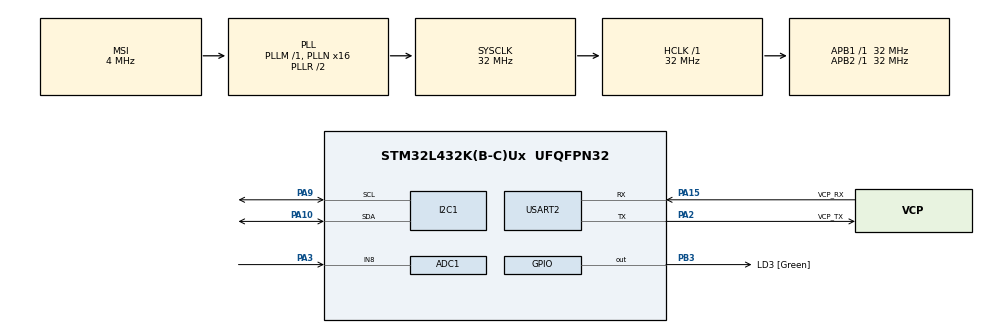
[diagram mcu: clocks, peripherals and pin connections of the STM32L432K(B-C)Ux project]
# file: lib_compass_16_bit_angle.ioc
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ADC1.Channel-0\#ChannelRegularConversion=ADC_CHANNEL_8
ADC1.NbrOfConversionFlag=1
ADC1.OffsetNumber-0\#ChannelRegularConversion=ADC_OFFSET_NONE
ADC1.Rank-0\#ChannelRegularConversion=1
ADC1.SamplingTime-0\#ChannelRegularConversion=ADC_SAMPLETIME_2CYCLES_5
ADC1.master=1
I2C1.Timing=0x00707CBB
Mcu.Family=STM32L4
Mcu.Name=STM32L432K(B-C)Ux
Mcu.Package=UFQFPN32
NVIC.PriorityGroup=NVIC_PRIORITYGROUP_4
PA0.GPIO_Label=MCO [High speed clock in]
PA0.Mode=HSE-External-Clock-Source-for-LittleOrca
PA0.Signal=RCC_CK_IN
PA10.Mode=I2C
PA10.Signal=I2C1_SDA
PA13\ (JTMS-SWDIO).GPIO_Label=SWDIO
PA13\ (JTMS-SWDIO).Mode=Serial_Wire
PA13\ (JTMS-SWDIO).Signal=SYS_JTMS-SWDIO
PA14\ (JTCK-SWCLK).GPIO_Label=SWCLK
PA14\ (JTCK-SWCLK).Mode=Serial_Wire
PA14\ (JTCK-SWCLK).Signal=SYS_JTCK-SWCLK
PA15\ (JTDI).GPIO_Label=VCP_RX
PA15\ (JTDI).Mode=Asynchronous
PA15\ (JTDI).Signal=USART2_RX
PA2.GPIO_Label=VCP_TX
PA2.Mode=Asynchronous
PA2.Signal=USART2_TX
PA3.Signal=ADCx_IN8
PA9.Mode=I2C
PA9.Signal=I2C1_SCL
PB3\ (JTDO-TRACESWO).GPIO_Label=LD3 [Green]
PB3\ (JTDO-TRACESWO).Signal=GPIO_Output
PC14-OSC32_IN\ (PC14).Mode=LSE-External-Oscillator
PC14-OSC32_IN\ (PC14).Signal=RCC_OSC32_IN
PC15-OSC32_OUT\ (PC15).Mode=LSE-External-Oscillator
PC15-OSC32_OUT\ (PC15).Signal=RCC_OSC32_OUT
ProjectManager.HeapSize=0x200
ProjectManager.StackSize=0x400
ProjectManager.TargetToolchain=STM32CubeIDE
RCC.ADCFreq_Value=32000000
RCC.AHBFreq_Value=32000000
RCC.APB1Freq_Value=32000000
RCC.APB1TimFreq_Value=32000000
RCC.APB2Freq_Value=32000000
RCC.APB2TimFreq_Value=32000000
RCC.CortexFreq_Value=32000000
RCC.HCLKFreq_Value=32000000
RCC.HSE_VALUE=8000000
RCC.HSI16_VALUE=16000000
RCC.HSI48_VALUE=48000000
RCC.HSI_VALUE=16000000
RCC.MSI_VALUE=4000000
RCC.PLLMUL=RCC_PLLMUL_4
RCC.PLLN=16
RCC.PLLSAI1N=16
RCC.SYSCLKFreq_VALUE=32000000
RCC.SYSCLKSource=RCC_SYSCLKSOURCE_PLLCLK
RCC.USBFreq_Value=32000000
RCC.VCOOutputFreq_Value=64000000
SH.ADCx_IN8.0=ADC1_IN8,IN8-Single-Ended
USART2.VirtualMode-Asynchronous=VM_ASYNC
board=NUCLEO-L432KC

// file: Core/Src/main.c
/* USER CODE BEGIN Header */
/**
 ******************************************************************************
 * @file           : main.c
 * @brief          : Main program body
 ******************************************************************************
 * @attention
 *
 * Copyright (c) 2023 STMicroelectronics.
 * All rights reserved.
 *
 * This software is licensed under terms that can be found in the LICENSE file
 * in the root directory of this software component.
 * If no LICENSE file comes with this software, it is provided AS-IS.
 *
 ******************************************************************************
 */
/* USER CODE END Header */
#include "main.h"
#include "adc.h"
#include "i2c.h"
#include "usart.h"
#include "gpio.h"

/* USER CODE BEGIN Includes */
#include <stdio.h>
/* USER CODE END Includes */

void SystemClock_Config(void);

/* USER CODE BEGIN 0 */
#ifdef __GNUC__
#define PUTCHAR_PROTOTYPE int __io_putchar(int ch)
#else
#define PUTCHAR_PROTOTYPE int fputc(int ch, FILE *f)
#endif

PUTCHAR_PROTOTYPE {
	HAL_UART_Transmit(&huart2, (uint8_t*) &ch, 1, HAL_MAX_DELAY);
	return ch;
}
/* USER CODE END 0 */

int main(void) {

	/* MCU Configuration--------------------------------------------------------*/

	/* Reset of all peripherals, Initializes the Flash interface and the Systick. */
	HAL_Init();

	/* Configure the system clock */
	SystemClock_Config();

	/* Initialize all configured peripherals */
	MX_GPIO_Init();
	MX_USART2_UART_Init();
	MX_I2C1_Init();
	MX_ADC1_Init();
	/* USER CODE BEGIN 2 */
	uint32_t raw = 0;
	unsigned int  angle = 0;
	/* USER CODE END 2 */

	/* Infinite loop */
	/* USER CODE BEGIN WHILE */
	printf("begin exchange\r\n");
	while (1) {

		if(get_CMPS12_angle(&angle) == -1)
		{
			printf("error\r\n");
		}
		else
		{
			printf("angle = %d\r\n",angle);
		}

//		HAL_ADC_Start(&hadc1);
//		HAL_ADC_PollForConversion(&hadc1, HAL_MAX_DELAY);
//		raw = HAL_ADC_GetValue(&hadc1);
//		printf("adc val = %d\r\n",raw);

		HAL_Delay(100);

		/* USER CODE END WHILE */

	}
}

void SystemClock_Config(void) {
	RCC_OscInitTypeDef RCC_OscInitStruct = { 0 };
	RCC_ClkInitTypeDef RCC_ClkInitStruct = { 0 };

	/** Configure the main internal regulator output voltage
	 */
	if (HAL_PWREx_ControlVoltageScaling(PWR_REGULATOR_VOLTAGE_SCALE1)
			!= HAL_OK) {
		Error_Handler();
	}

	/** Configure LSE Drive Capability
	 */
	HAL_PWR_EnableBkUpAccess();
	__HAL_RCC_LSEDRIVE_CONFIG(RCC_LSEDRIVE_LOW);

	/** Initializes the RCC Oscillators according to the specified parameters
	 * in the RCC_OscInitTypeDef structure.
	 */
	RCC_OscInitStruct.OscillatorType = RCC_OSCILLATORTYPE_LSE
			| RCC_OSCILLATORTYPE_MSI;
	RCC_OscInitStruct.LSEState = RCC_LSE_ON;
	RCC_OscInitStruct.MSIState = RCC_MSI_ON;
	RCC_OscInitStruct.MSICalibrationValue = 0;
	RCC_OscInitStruct.MSIClockRange = RCC_MSIRANGE_6;
	RCC_OscInitStruct.PLL.PLLState = RCC_PLL_ON;
	RCC_OscInitStruct.PLL.PLLSource = RCC_PLLSOURCE_MSI;
	RCC_OscInitStruct.PLL.PLLM = 1;
	RCC_OscInitStruct.PLL.PLLN = 16;
	RCC_OscInitStruct.PLL.PLLP = RCC_PLLP_DIV7;
	RCC_OscInitStruct.PLL.PLLQ = RCC_PLLQ_DIV2;
	RCC_OscInitStruct.PLL.PLLR = RCC_PLLR_DIV2;
	if (HAL_RCC_OscConfig(&RCC_OscInitStruct) != HAL_OK) {
		Error_Handler();
	}

	/** Initializes the CPU, AHB and APB buses clocks
	 */
	RCC_ClkInitStruct.ClockType = RCC_CLOCKTYPE_HCLK | RCC_CLOCKTYPE_SYSCLK
			| RCC_CLOCKTYPE_PCLK1 | RCC_CLOCKTYPE_PCLK2;
	RCC_ClkInitStruct.SYSCLKSource = RCC_SYSCLKSOURCE_PLLCLK;
	RCC_ClkInitStruct.AHBCLKDivider = RCC_SYSCLK_DIV1;
	RCC_ClkInitStruct.APB1CLKDivider = RCC_HCLK_DIV1;
	RCC_ClkInitStruct.APB2CLKDivider = RCC_HCLK_DIV1;

	if (HAL_RCC_ClockConfig(&RCC_ClkInitStruct, FLASH_LATENCY_1) != HAL_OK) {
		Error_Handler();
	}

	/** Enable MSI Auto calibration
	 */
	HAL_RCCEx_EnableMSIPLLMode();
}

void Error_Handler(void) {
	__disable_irq();
	while (1) {
	}
}
